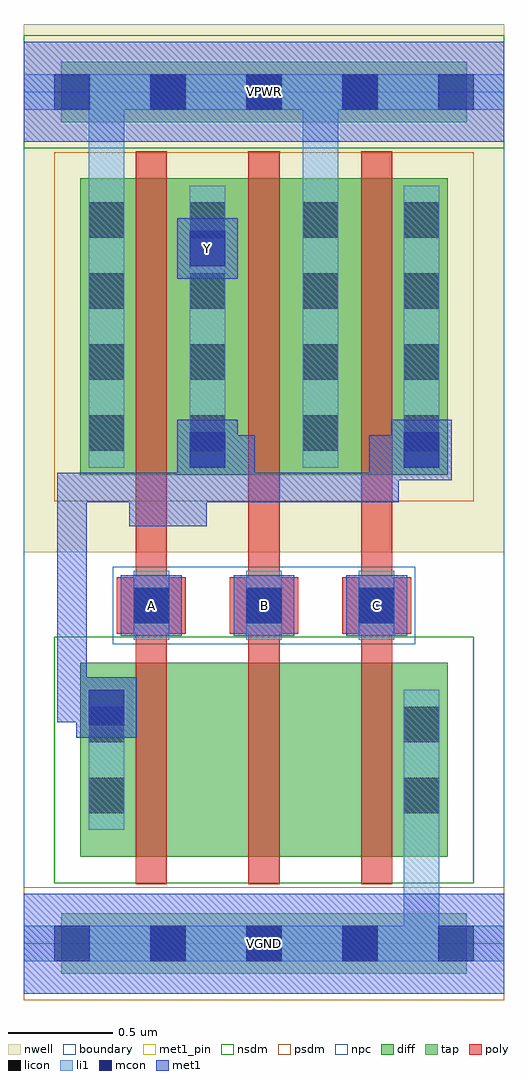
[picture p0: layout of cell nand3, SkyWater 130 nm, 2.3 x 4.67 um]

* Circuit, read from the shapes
.subckt nand3 A B C VGND VPWR Y
XM1 n1 A Y VGND sky130_fd_pr__nfet_01v8 w=0.93 l=0.15
XM2 n2 B n1 VGND sky130_fd_pr__nfet_01v8 w=0.93 l=0.15
XM3 VGND C n2 VGND sky130_fd_pr__nfet_01v8 w=0.93 l=0.15
XM4 Y A VPWR VPWR sky130_fd_pr__pfet_01v8 w=1.42 l=0.15
XM5 VPWR B Y VPWR sky130_fd_pr__pfet_01v8 w=1.42 l=0.15
XM6 Y C VPWR VPWR sky130_fd_pr__pfet_01v8 w=1.42 l=0.15
.ends

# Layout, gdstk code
import gdstk
lib = gdstk.Library(unit=1e-6, precision=1e-09)
def R(c, l, rs):  # rectangles x0, y0, x1, y1
    for r in rs: c.add(gdstk.rectangle(r[:2], r[2:], *l))
def A(c, l, x, y, w, h, nx, ny, dx, dy):  # array of equal rectangles
    R(c, l, [(x+i*dx, y+j*dy, x+i*dx+w, y+j*dy+h) for i in range(nx) for j in range(ny)])
nwell = (64, 20)
diff = (65, 20)
tap = (65, 44)
poly = (66, 20)
licon = (66, 44)
li1 = (67, 20)
mcon = (67, 44)
met1_pin = (68, 16)
met1 = (68, 20)
nsdm = (93, 44)
psdm = (94, 20)
npc = (95, 20)
boundary = (235, 4)

nand3 = lib.new_cell('nand3')
R(nand3, nwell, [(0,1.875,2.3,4.405)])
R(nand3, diff, [(0.27,0.415,2.03,1.345), (0.27,2.245,2.03,3.665)])
R(nand3, tap, [(0.18,-0.145,2.12,0.145), (0.18,3.935,2.12,4.225)])
A(nand3, poly, 0.535, 0.285, 0.15, 3.51, 3, 1, 0.54, 0)
A(nand3, poly, 0.445, 1.485, 0.33, 0.27, 3, 1, 0.54, 0)
A(nand3, licon, 0.605, -0.085, 0.17, 0.17, 3, 2, 0.46, 4.08)
A(nand3, licon, 0.525, 1.535, 0.17, 0.17, 3, 1, 0.54, 0)
A(nand3, licon, 0.31, 2.36, 0.17, 0.17, 1, 4, 0, 0.34)
A(nand3, licon, 0.795, 2.36, 0.17, 0.17, 1, 4, 0, 0.34)
A(nand3, licon, 1.335, 2.36, 0.17, 0.17, 1, 4, 0, 0.34)
A(nand3, licon, 1.82, 2.36, 0.17, 0.17, 1, 4, 0, 0.34)
R(nand3, licon, [(0.31,0.625,0.48,0.795), (1.82,0.625,1.99,0.795), (0.31,0.965,0.48,1.135), (1.82,0.965,1.99,1.135)])
A(nand3, li1, 0.525, 1.455, 0.17, 0.33, 3, 1, 0.54, 0)
R(nand3, li1, [(0,-0.085,2.3,0.085), (1.82,-0.085,1.99,1.215), (0.31,0.545,0.48,1.215), (1.82,0.545,1.99,1.215), (0.31,2.28,0.48,3.63), (0.31,2.28,0.48,4.165), (0.795,2.28,0.965,3.63), (1.335,2.28,1.505,3.63), (1.335,2.28,1.505,4.165), (1.82,2.28,1.99,3.63), (0,3.995,2.3,4.165)])
A(nand3, mcon, 0.145, -0.085, 0.17, 0.17, 5, 2, 0.46, 4.08)
A(nand3, mcon, 0.525, 1.535, 0.17, 0.17, 3, 1, 0.54, 0)
R(nand3, mcon, [(0.31,1.045,0.48,1.215), (0.795,2.28,0.965,2.45), (1.82,2.28,1.99,2.45), (0.795,3.245,0.965,3.415)])
A(nand3, met1_pin, 0.465, 1.475, 0.29, 0.29, 3, 1, 0.54, 0)
R(nand3, met1_pin, [(0,-0.24,2.3,0.24), (0.735,3.185,1.025,3.475), (0,3.84,2.3,4.32)])
A(nand3, met1, 0.465, 1.475, 0.29, 0.29, 3, 1, 0.54, 0)
R(nand3, met1, [(0,-0.24,2.3,0.24), (0.25,0.985,0.54,1.275), (0.16,1.06,0.465,1.2), (0.16,1.06,0.3,1.335), (0.16,1.195,0.3,2.255), (0.505,2,0.875,2.14), (0.505,2,0.645,2.255), (0.645,2,0.735,2.255), (0.735,2,0.875,2.255), (0.16,2.115,0.645,2.255), (0.645,2.115,0.735,2.255), (0.735,2.115,1.105,2.255), (0.965,2.115,1.105,2.435), (0.965,2.115,1.795,2.255), (1.655,2.115,1.795,2.435), (0.645,2.22,0.735,2.255), (0.735,2.22,1.025,2.51), (1.76,2.22,2.05,2.51), (0.81,2.255,1.105,2.295), (0.81,2.295,1.105,2.435), (1.655,2.295,1.975,2.435), (0.735,3.185,1.025,3.475), (0,3.84,2.3,4.32)])
R(nand3, nsdm, [(0.145,0.29,2.155,1.47), (0,3.81,2.3,4.35)])
R(nand3, psdm, [(0,-0.27,2.3,0.27), (0.145,2.12,2.155,3.79)])
R(nand3, npc, [(0.425,1.435,1.875,1.805)])
R(nand3, boundary, [(0,0,2.3,4.08)])
nand3.add(gdstk.Label('A', (0.61,1.62), layer=68, texttype=5))
nand3.add(gdstk.Label('B', (1.15,1.62), layer=68, texttype=5))
nand3.add(gdstk.Label('C', (1.69,1.62), layer=68, texttype=5))
nand3.add(gdstk.Label('Y', (0.88,3.33), layer=68, texttype=5))
nand3.add(gdstk.Label('VPWR', (1.15,4.08), layer=68, texttype=5))
nand3.add(gdstk.Label('VGND', (1.15,0), layer=68, texttype=5))
nand3.add(gdstk.Label('A', (0.61,1.62), layer=68, texttype=16))
nand3.add(gdstk.Label('B', (1.15,1.62), layer=68, texttype=16))
nand3.add(gdstk.Label('C', (1.69,1.62), layer=68, texttype=16))
nand3.add(gdstk.Label('Y', (0.88,3.33), layer=68, texttype=16))
nand3.add(gdstk.Label('VPWR', (1.15,4.08), layer=68, texttype=16))
nand3.add(gdstk.Label('VGND', (1.15,0), layer=68, texttype=16))

lib.write_gds('nand3.gds')
